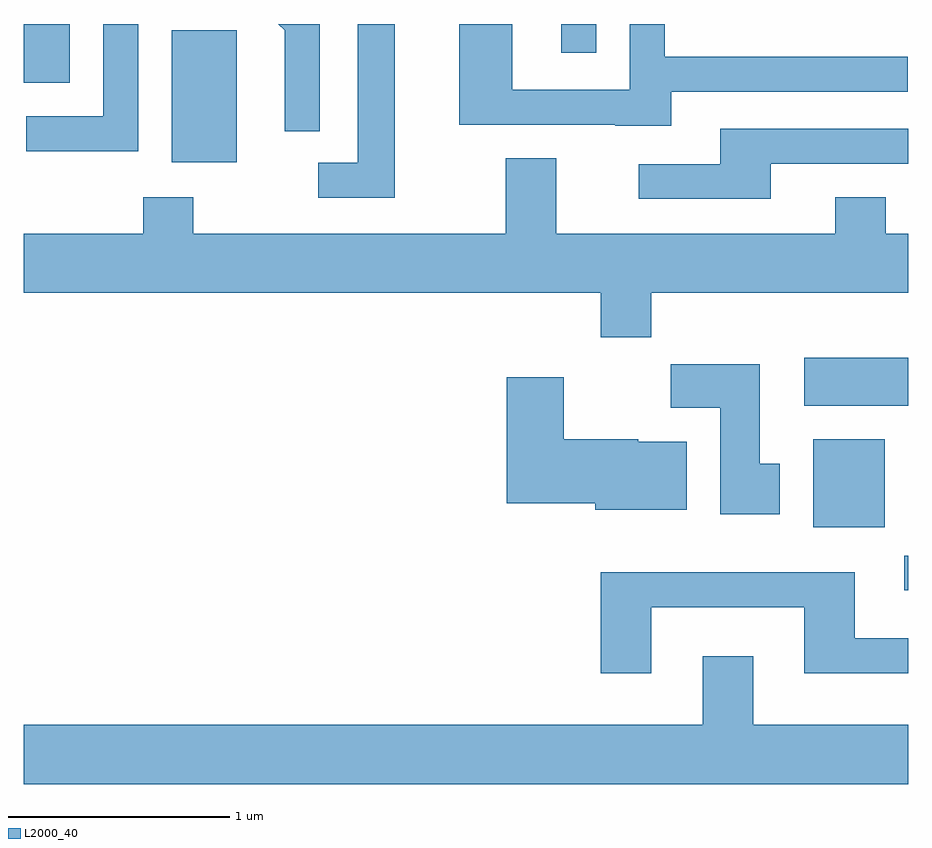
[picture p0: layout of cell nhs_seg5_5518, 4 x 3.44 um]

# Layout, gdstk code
import gdstk
lib = gdstk.Library(unit=1e-6, precision=1e-09)
def R(c, l, rs):  # rectangles x0, y0, x1, y1
    for r in rs: c.add(gdstk.rectangle(r[:2], r[2:], *l))
def P(c, l, *ps):  # polygons
    for p in ps: c.add(gdstk.Polygon(p, *l))
L2000_40 = (2000, 40)

nhs_seg5_5518 = lib.new_cell('nhs_seg5_5518')
R(nhs_seg5_5518, L2000_40, [(353.593,1395.511,353.611,1395.669), (353.181,1395.796,353.504,1396.194), (353.141,1396.346,353.611,1396.564), (350.281,1397.446,350.574,1398.044), (349.611,1397.806,349.819,1398.072), (352.041,1397.943,352.199,1398.072)])
P(nhs_seg5_5518, L2000_40, [(350.949,1398.072),(350.763,1398.072),(350.791,1398.044),(350.791,1397.588),(350.949,1397.588)],
  [(350.129,1398.072),(349.971,1398.072),(349.971,1397.654),(349.623,1397.654),(349.623,1397.496),(350.129,1397.496)],
  [(352.539,1397.766),(353.608,1397.766),(353.608,1397.924),(352.509,1397.924),(352.509,1398.072),(352.351,1398.072),(352.351,1397.774),(351.819,1397.774),(351.819,1398.072),(351.581,1398.072),(351.581,1397.616),(352.285,1397.616),(352.285,1397.611),(352.539,1397.611)],
  [(351.289,1398.072),(351.121,1398.072),(351.121,1397.444),(350.943,1397.444),(350.943,1397.286),(351.289,1397.286)],
  [(352.989,1397.441),(353.611,1397.441),(353.611,1397.599),(352.761,1397.599),(352.761,1397.439),(352.393,1397.439),(352.393,1397.281),(352.989,1397.281)],
  [(352.449,1396.856),(353.611,1396.856),(353.611,1397.124),(353.509,1397.124),(353.509,1397.289),(353.281,1397.289),(353.281,1397.124),(352.019,1397.124),(352.019,1397.464),(351.791,1397.464),(351.791,1397.124),(350.379,1397.124),(350.379,1397.289),(350.151,1397.289),(350.151,1397.124),(349.611,1397.124),(349.611,1396.856),(352.221,1396.856),(352.221,1396.656),(352.449,1396.656)],
  [(353.029,1396.084),(352.939,1396.084),(352.939,1396.534),(352.536,1396.534),(352.536,1396.336),(352.761,1396.336),(352.761,1395.856),(353.029,1395.856)],
  [(352.609,1396.184),(352.39,1396.184),(352.39,1396.194),(352.054,1396.194),(352.054,1396.474),(351.796,1396.474),(351.796,1395.906),(352.196,1395.906),(352.196,1395.876),(352.609,1395.876)],
  [(352.449,1395.436),(353.141,1395.436),(353.141,1395.136),(353.611,1395.136),(353.611,1395.294),(353.369,1395.294),(353.369,1395.594),(352.221,1395.594),(352.221,1395.136),(352.449,1395.136)],
  [(353.611,1394.904),(352.909,1394.904),(352.909,1395.214),(352.681,1395.214),(352.681,1394.904),(349.611,1394.904),(349.611,1394.636),(353.611,1394.636)])

lib.write_gds('nhs_seg5_5518.gds')
